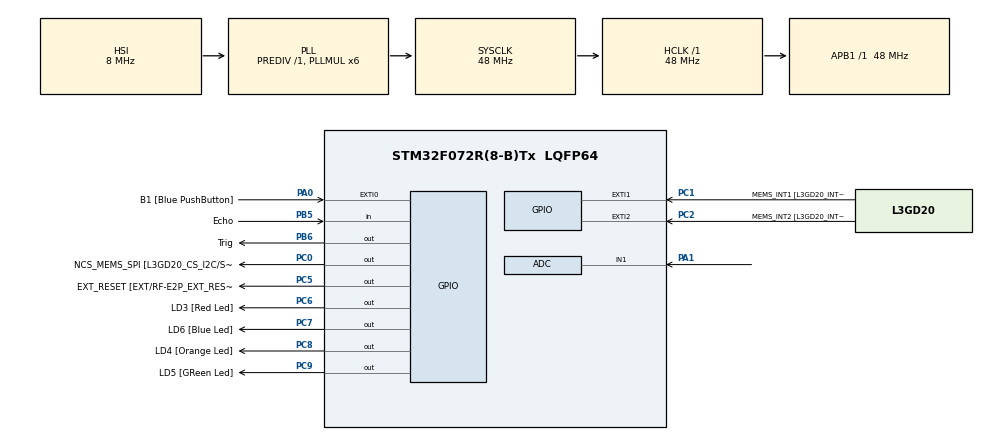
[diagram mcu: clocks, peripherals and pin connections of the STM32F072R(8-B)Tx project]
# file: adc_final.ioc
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Mcu.Family=STM32F0
Mcu.Name=STM32F072R(8-B)Tx
Mcu.Package=LQFP64
PA0.GPIO_Label=B1 [Blue PushButton]
PA0.GPIO_ModeDefaultEXTI=GPIO_MODE_EVT_RISING
PA0.Signal=GPXTI0
PA1.Mode=IN1
PA1.Signal=ADC_IN1
PA11.GPIO_Label=USBF4_DM
PA11.Signal=USB_DM
PA12.GPIO_Label=USBF4_DP
PA12.Signal=USB_DP
PA13.GPIO_Label=SWDIO
PA13.Signal=SYS_SWDIO
PA14.GPIO_Label=SWCLK
PA14.Signal=SYS_SWCLK
PA2.Signal=TSC_G1_IO3
PA3.Signal=TSC_G1_IO4
PA6.Signal=TSC_G2_IO3
PA7.Signal=TSC_G2_IO4
PB0.Signal=TSC_G3_IO2
PB1.Signal=TSC_G3_IO3
PB10.GPIO_Label=I2C2_SCL[EXT/RF-E2P_SCL]
PB10.Signal=I2C2_SCL
PB11.GPIO_Label=I2C2_SDA[EXT/RF-E2P_SDA]
PB11.Signal=I2C2_SDA
PB13.GPIO_Label=SPI2_SCK [L3GD20_SCL/SPC]
PB13.Signal=SPI2_SCK
PB14.GPIO_Label=SPI2_MISO [L3GD20_SDO]
PB14.Signal=SPI2_MISO
PB15.GPIO_Label=SPI2_MOSI [L3GD20_SDA/SDI]
PB15.Signal=SPI2_MOSI
PB5.GPIO_Label=Echo
PB5.Signal=GPIO_Input
PB6.GPIO_Label=Trig
PB6.Signal=GPIO_Output
PC0.GPIO_Label=NCS_MEMS_SPI [L3GD20_CS_I2C/SPI]
PC0.Signal=GPIO_Output
PC1.GPIO_Label=MEMS_INT1 [L3GD20_INT1]
PC1.GPIO_ModeDefaultEXTI=GPIO_MODE_EVT_RISING
PC1.Signal=GPXTI1
PC2.GPIO_Label=MEMS_INT2 [L3GD20_INT2]
PC2.GPIO_ModeDefaultEXTI=GPIO_MODE_EVT_RISING
PC2.Signal=GPXTI2
PC5.GPIO_Label=EXT_RESET [EXT/RF-E2P_EXT_RESET]
PC5.Signal=GPIO_Output
PC6.GPIO_Label=LD3 [Red Led]
PC6.Signal=GPIO_Output
PC7.GPIO_Label=LD6 [Blue Led]
PC7.Signal=GPIO_Output
PC8.GPIO_Label=LD4 [Orange Led]
PC8.Signal=GPIO_Output
PC9.GPIO_Label=LD5 [GReen Led]
PC9.Signal=GPIO_Output
ProjectManager.HeapSize=0x200
ProjectManager.StackSize=0x400
ProjectManager.TargetToolchain=SW4STM32
RCC.AHBFreq_Value=48000000
RCC.APB1Freq_Value=48000000
RCC.APB1TimFreq_Value=48000000
RCC.HCLKFreq_Value=48000000
RCC.PLLMUL=RCC_PLL_MUL6
RCC.SYSCLKFreq_VALUE=48000000
RCC.SYSCLKSource=RCC_SYSCLKSOURCE_PLLCLK
board=STM32F072B-DISCO

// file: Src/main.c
/**
 ******************************************************************************
 * File Name          : main.c
 * Description        : Main program body
 ******************************************************************************
 ** This notice applies to any and all portions of this file
 * that are not between comment pairs USER CODE BEGIN and
 * USER CODE END. Other portions of this file, whether
 * inserted by the user or by software development tools
 * are owned by their respective copyright owners.
 *
 * COPYRIGHT(c) 2018 STMicroelectronics
 *
 * Redistribution and use in source and binary forms, with or without modification,
 * are permitted provided that the following conditions are met:
 *   1. Redistributions of source code must retain the above copyright notice,
 *      this list of conditions and the following disclaimer.
 *   2. Redistributions in binary form must reproduce the above copyright notice,
 *      this list of conditions and the following disclaimer in the documentation
 *      and/or other materials provided with the distribution.
 *   3. Neither the name of STMicroelectronics nor the names of its contributors
 *      may be used to endorse or promote products derived from this software
 *      without specific prior written permission.
 *
 * THIS SOFTWARE IS PROVIDED BY THE COPYRIGHT HOLDERS AND CONTRIBUTORS "AS IS"
 * AND ANY EXPRESS OR IMPLIED WARRANTIES, INCLUDING, BUT NOT LIMITED TO, THE
 * IMPLIED WARRANTIES OF MERCHANTABILITY AND FITNESS FOR A PARTICULAR PURPOSE ARE
 * DISCLAIMED. IN NO EVENT SHALL THE COPYRIGHT HOLDER OR CONTRIBUTORS BE LIABLE
 * FOR ANY DIRECT, INDIRECT, INCIDENTAL, SPECIAL, EXEMPLARY, OR CONSEQUENTIAL
 * DAMAGES (INCLUDING, BUT NOT LIMITED TO, PROCUREMENT OF SUBSTITUTE GOODS OR
 * SERVICES; LOSS OF USE, DATA, OR PROFITS; OR BUSINESS INTERRUPTION) HOWEVER
 * CAUSED AND ON ANY THEORY OF LIABILITY, WHETHER IN CONTRACT, STRICT LIABILITY,
 * OR TORT (INCLUDING NEGLIGENCE OR OTHERWISE) ARISING IN ANY WAY OUT OF THE USE
 * OF THIS SOFTWARE, EVEN IF ADVISED OF THE POSSIBILITY OF SUCH DAMAGE.
 *
 ******************************************************************************
 */

#include "main.h"
#include "stm32f0xx_hal.h"
#include "stm32f0xx.h"
#include "string.h"

ADC_HandleTypeDef hadc;

/* USER CODE BEGIN PV */
/* Private variables ---------------------------------------------------------*/
uint32_t adcResult = 0;
/* USER CODE END PV */

void SystemClock_Config(void);
static void MX_GPIO_Init(void);
static void MX_ADC_Init(void);

/* USER CODE BEGIN PFP */
/* Private function prototypes -----------------------------------------------*/

/* USER CODE END PFP */

/* USER CODE BEGIN 0 */
inline uint32_t get_us() {
	return 1000 * HAL_GetTick(); // ���� �����, � �� ������?
}
#define LOOP_FREQ (SystemCoreClock/4000000)
#define TRESHOLD                            3000

inline void udelay_asm(uint32_t useconds) {
	useconds *= LOOP_FREQ;

	asm volatile("   mov r0, %[useconds]    \n\t"
			"1: subs r0, #1            \n\t"
			"   bhi 1b                 \n\t"
			:
			: [useconds] "r" (useconds)
			: "r0");
}

/* USER CODE END 0 */
unsigned char i = 0;
unsigned int hasRequest = 0;

int led_status = 0;
void EXTI0_1_IRQHandler(void) {
	//Handler for interruptions on external button and motion sensor
	//We light the led and notify all systems about that
	EXTI->PR |= 1;
	if (GPIOC->ODR & 1 << 12) {
		GPIOC->ODR &= ~(1 << 12);
	} else {
		GPIOC->ODR |= (1 << 12);

	}
}

void USART1_IRQHandler(void) {
	uint8_t chartoreceive = 0;
	if ((USART1->ISR & USART_ISR_RXNE) == USART_ISR_RXNE) {
		chartoreceive = (uint8_t) (USART1->RDR);
		switch (chartoreceive) {
		case 'O':
			GPIOC->ODR |= (1 << 6);
			hasRequest = 1;
			break;
		case 'F':
			GPIOC->ODR &= ~(1 << 6);
			hasRequest = 0;
			break;
		default:
			break;
		}
	} else {
		NVIC_DisableIRQ(USART1_IRQn);
	}
}
void USART2_IRQHandler(void) {
	uint8_t chartoreceive = 0;
	if ((USART2->ISR & USART_ISR_RXNE) == USART_ISR_RXNE) {
		chartoreceive = (uint8_t) (USART2->RDR);
		switch (chartoreceive) {
		case 'O':
			GPIOC->ODR |= (1 << 12);
			break;
		case 'B':
			GPIOC->ODR &= ~(1 << 12);
			break;
		default:
			break;
		}
	} else {
		NVIC_DisableIRQ(USART2_IRQn);
	}
}

void init_PA0_interrupt() {
	SYSCFG->EXTICR[0] &= ~SYSCFG_EXTICR1_EXTI0_PA;
	SYSCFG->EXTICR[0] |= SYSCFG_EXTICR1_EXTI0_PA;
	EXTI->IMR |= EXTI_IMR_MR0;
	EXTI->RTSR |= EXTI_RTSR_TR0;
	NVIC_SetPriority(EXTI0_1_IRQn, 1);
	NVIC_EnableIRQ(EXTI0_1_IRQn);
}

void init_USART_1() {
	//Configures for USART line 1
	GPIOA->AFR[1] = (GPIOA->AFR[1] & ~(GPIO_AFRH_AFRH1 |
	GPIO_AFRH_AFRH2)) | (1 << (1 * 4)) | (1 << (2 * 4));

	RCC->APB2ENR |= RCC_APB2ENR_USART1EN;
	USART1->BRR = 480000 / 96;
	USART1->CR1 = USART_CR1_RE | USART_CR1_TE | USART_CR1_UE;
	while ((USART1->ISR & USART_ISR_TC) != USART_ISR_TC)
		;
	USART1->ICR |= USART_ICR_TCCF;
	USART1->CR1 |= USART_CR1_RXNEIE;
	NVIC_SetPriority(USART1_IRQn, 0);
	NVIC_EnableIRQ(USART1_IRQn);
}
void init_USART_2() {
	//Configures for USART line 2
	RCC->APB1ENR |= RCC_APB1ENR_USART2EN;

	USART2->CR1 |= USART_CR1_UE | USART_CR1_TE | USART_CR1_RE |
	USART_CR1_RXNEIE;
	USART2->BRR = 480000 / 96;
	while ((USART2->ISR & USART_ISR_TC) != USART_ISR_TC)
		;
	USART2->ICR |= USART_ICR_TCCF;
}

int main(void) {

	/* USER CODE BEGIN 1 */
	init_PA0_interrupt();

	RCC->AHBENR |= RCC_AHBENR_GPIOAEN | RCC_AHBENR_GPIOCEN;
	GPIOC->MODER |= GPIO_MODER_MODER6_0 | GPIO_MODER_MODER7_0 |
	GPIO_MODER_MODER8_0 | GPIO_MODER_MODER9_0;
	GPIOA->MODER = (GPIOA->MODER
			& ~(GPIO_MODER_MODER9 | GPIO_MODER_MODER10 | GPIO_MODER_MODER14
					| GPIO_MODER_MODER15))
			| (GPIO_MODER_MODER9_1 | GPIO_MODER_MODER10_1 | GPIO_MODER_MODER14_1
					| GPIO_MODER_MODER15_1);
	GPIOA->AFR[1] = (GPIOA->AFR[1] & ~(GPIO_AFRH_AFRH1 |
	GPIO_AFRH_AFRH2)) | (1 << (1 * 4)) | (1 << (2 * 4));

	init_USART_1();

	NVIC_SetPriority(USART1_IRQn, 0);
	NVIC_EnableIRQ(USART1_IRQn);

	GPIOC->MODER |= GPIO_MODER_MODER12_0;

	/* USER CODE END 1 */

	/* MCU Configuration----------------------------------------------------------*/

	/* Reset of all peripherals, Initializes the Flash interface and the Systick. */
	HAL_Init();

	/* Configure the system clock */
	SystemClock_Config();

	/* Initialize all configured peripherals */
	MX_GPIO_Init();
	MX_ADC_Init();

	RCC->AHBENR |= RCC_AHBENR_GPIOAEN | RCC_AHBENR_GPIOCEN;

	GPIOC->MODER |= GPIO_MODER_MODER6_0 | GPIO_MODER_MODER7_0 |
	GPIO_MODER_MODER8_0 | GPIO_MODER_MODER9_0;
	//Setting AF for USART 2

	GPIOA->MODER = (GPIOA->MODER
			& ~(GPIO_MODER_MODER4 | GPIO_MODER_MODER14 | GPIO_MODER_MODER15
					| GPIO_MODER_MODER7))\

			| (GPIO_MODER_MODER4_1 | GPIO_MODER_MODER14_1 | GPIO_MODER_MODER15_1
					| GPIO_MODER_MODER7_1);

	RCC->APB1ENR |= RCC_APB1ENR_TIM3EN;
	GPIOC->MODER |= (1 << 15);
	GPIOC->MODER &= ~(1 << 14);

	TIM3->CCMR1 |= TIM_CCMR1_OC2M_2 | TIM_CCMR1_OC2M_1; /* (1) */
	TIM3->PSC = 0; /* (2) */
	TIM3->ARR = 999; /* (3) */
	TIM3->CCR2 = 0;
	; /* (4) */
	TIM3->CCER |= (TIM_CCER_CC2E); // Capture/Compare 2 output enable -- PA7
	TIM3->CCER &= ~TIM_CCER_CC2P;   //

	TIM3->CR1 |= TIM_CR1_CEN; //Turn on

	/* Infinite loop */
	while (1) {
		int t_state = HAL_GPIO_ReadPin(Trig_GPIO_Port, Trig_Pin);
		HAL_GPIO_WritePin(Trig_GPIO_Port, Trig_Pin, GPIO_PIN_SET);
//		udelay_asm(16);
		HAL_GPIO_WritePin(Trig_GPIO_Port, Trig_Pin, GPIO_PIN_RESET);
		if (HAL_GPIO_ReadPin(Trig_GPIO_Port, Trig_Pin) != GPIO_PIN_RESET) {
			HAL_GPIO_WritePin(Trig_GPIO_Port, Trig_Pin, GPIO_PIN_RESET);
			HAL_Delay(300);
			continue;
		}
		if (HAL_GPIO_ReadPin(Echo_GPIO_Port, Echo_Pin) == GPIO_PIN_SET) {
			HAL_Delay(300);
			continue;
		}
		uint32_t watchdog_begin = get_us();
		int didnt_had_1_at_echo = 0;
		while (HAL_GPIO_ReadPin(Echo_GPIO_Port, Echo_Pin) == GPIO_PIN_RESET) {
			if (get_us() - watchdog_begin > 500000) {
				didnt_had_1_at_echo = 1;
				break;
			}
		}
		if (didnt_had_1_at_echo) {
			HAL_Delay(300);
			continue;
		}

		uint32_t before = get_us();
		int didnt_had_0_at_echo = 0;
		while (HAL_GPIO_ReadPin(Echo_GPIO_Port, Echo_Pin) == GPIO_PIN_SET) {

			if (get_us() - watchdog_begin > 500000) {
				didnt_had_0_at_echo = 1;
				break;
			}

		}
		if (didnt_had_0_at_echo) {
			HAL_Delay(300);
			continue;
		}

		uint32_t pulse_time = get_us() - before;
		uint32_t distance = pulse_time / 58;

		int water_available = 1;
		if (distance > 50) {
			water_available = 0;
		}

		HAL_ADC_Start(&hadc);

		HAL_ADC_PollForConversion(&hadc, 100);

		adcResult = HAL_ADC_GetValue(&hadc);

		HAL_ADC_Stop(&hadc);

		if ((adcResult >= TRESHOLD || hasRequest == 1)
				&& water_available == 1) {
			TIM3->CCR2 = 999;
			hasRequest = 0;
			HAL_Delay(5000);
			TIM3->CCR2 = 0;
			HAL_Delay(15000);
		}

	}

}

/** System Clock Configuration
 */
void SystemClock_Config(void) {

	RCC_OscInitTypeDef RCC_OscInitStruct;
	RCC_ClkInitTypeDef RCC_ClkInitStruct;

	/**Initializes the CPU, AHB and APB busses clocks
	 */
	RCC_OscInitStruct.OscillatorType = RCC_OSCILLATORTYPE_HSI
			| RCC_OSCILLATORTYPE_HSI14;
	RCC_OscInitStruct.HSIState = RCC_HSI_ON;
	RCC_OscInitStruct.HSI14State = RCC_HSI14_ON;
	RCC_OscInitStruct.HSICalibrationValue = 16;
	RCC_OscInitStruct.HSI14CalibrationValue = 16;
	RCC_OscInitStruct.PLL.PLLState = RCC_PLL_ON;
	RCC_OscInitStruct.PLL.PLLSource = RCC_PLLSOURCE_HSI;
	RCC_OscInitStruct.PLL.PLLMUL = RCC_PLL_MUL6;
	RCC_OscInitStruct.PLL.PREDIV = RCC_PREDIV_DIV1;
	if (HAL_RCC_OscConfig(&RCC_OscInitStruct) != HAL_OK) {
		_Error_Handler(__FILE__, __LINE__);
	}

	/**Initializes the CPU, AHB and APB busses clocks
	 */
	RCC_ClkInitStruct.ClockType = RCC_CLOCKTYPE_HCLK | RCC_CLOCKTYPE_SYSCLK
			| RCC_CLOCKTYPE_PCLK1;
	RCC_ClkInitStruct.SYSCLKSource = RCC_SYSCLKSOURCE_PLLCLK;
	RCC_ClkInitStruct.AHBCLKDivider = RCC_SYSCLK_DIV1;
	RCC_ClkInitStruct.APB1CLKDivider = RCC_HCLK_DIV1;

	if (HAL_RCC_ClockConfig(&RCC_ClkInitStruct, FLASH_LATENCY_1) != HAL_OK) {
		_Error_Handler(__FILE__, __LINE__);
	}

	/**Configure the Systick interrupt time
	 */
	HAL_SYSTICK_Config(HAL_RCC_GetHCLKFreq() / 1000);

	/**Configure the Systick
	 */
	HAL_SYSTICK_CLKSourceConfig(SYSTICK_CLKSOURCE_HCLK);

	/* SysTick_IRQn interrupt configuration */
	HAL_NVIC_SetPriority(SysTick_IRQn, 0, 0);
}

/* ADC init function */
static void MX_ADC_Init(void) {

	ADC_ChannelConfTypeDef sConfig;

	/**Configure the global features of the ADC (Clock, Resolution, Data Alignment and number of conversion)
	 */
	hadc.Instance = ADC1;
	hadc.Init.ClockPrescaler = ADC_CLOCK_ASYNC_DIV1;
	hadc.Init.Resolution = ADC_RESOLUTION_12B;
	hadc.Init.DataAlign = ADC_DATAALIGN_RIGHT;
	hadc.Init.ScanConvMode = ADC_SCAN_DIRECTION_FORWARD;
	hadc.Init.EOCSelection = ADC_EOC_SINGLE_CONV;
	hadc.Init.LowPowerAutoWait = DISABLE;
	hadc.Init.LowPowerAutoPowerOff = DISABLE;
	hadc.Init.ContinuousConvMode = DISABLE;
	hadc.Init.DiscontinuousConvMode = DISABLE;
	hadc.Init.ExternalTrigConv = ADC_SOFTWARE_START;
	hadc.Init.ExternalTrigConvEdge = ADC_EXTERNALTRIGCONVEDGE_NONE;
	hadc.Init.DMAContinuousRequests = DISABLE;
	hadc.Init.Overrun = ADC_OVR_DATA_PRESERVED;
	if (HAL_ADC_Init(&hadc) != HAL_OK) {
		_Error_Handler(__FILE__, __LINE__);
	}

	/**Configure for the selected ADC regular channel to be converted.
	 */
	sConfig.Channel = ADC_CHANNEL_1;
	sConfig.Rank = ADC_RANK_CHANNEL_NUMBER;
	sConfig.SamplingTime = ADC_SAMPLETIME_1CYCLE_5;
	if (HAL_ADC_ConfigChannel(&hadc, &sConfig) != HAL_OK) {
		_Error_Handler(__FILE__, __LINE__);
	}

}

/** Configure pins as
 * Analog
 * Input
 * Output
 * EVENT_OUT
 * EXTI
 PA2   ------> TSC_G1_IO3
 PA3   ------> TSC_G1_IO4
 PA6   ------> TSC_G2_IO3
 PA7   ------> TSC_G2_IO4
 PB0   ------> TSC_G3_IO2
 PB1   ------> TSC_G3_IO3
 PB10   ------> I2C2_SCL
 PB11   ------> I2C2_SDA
 PB13   ------> SPI2_SCK
 PB14   ------> SPI2_MISO
 PB15   ------> SPI2_MOSI
 */
static void MX_GPIO_Init(void) {

	GPIO_InitTypeDef GPIO_InitStruct;

	/* GPIO Ports Clock Enable */
	__HAL_RCC_GPIOC_CLK_ENABLE()
	;
	__HAL_RCC_GPIOA_CLK_ENABLE()
	;
	__HAL_RCC_GPIOB_CLK_ENABLE()
	;

	/*Configure GPIO pin Output Level */
	HAL_GPIO_WritePin(GPIOC,
	NCS_MEMS_SPI_Pin | EXT_RESET_Pin | LD3_Pin | LD6_Pin | LD4_Pin | LD5_Pin,
			GPIO_PIN_RESET);

	/*Configure GPIO pin Output Level */
	HAL_GPIO_WritePin(Trig_GPIO_Port, Trig_Pin, GPIO_PIN_RESET);

	/*Configure GPIO pins : NCS_MEMS_SPI_Pin EXT_RESET_Pin LD3_Pin LD6_Pin
	 LD4_Pin LD5_Pin */
	GPIO_InitStruct.Pin = NCS_MEMS_SPI_Pin | EXT_RESET_Pin | LD3_Pin | LD6_Pin
			| LD4_Pin | LD5_Pin;
	GPIO_InitStruct.Mode = GPIO_MODE_OUTPUT_PP;
	GPIO_InitStruct.Pull = GPIO_NOPULL;
	GPIO_InitStruct.Speed = GPIO_SPEED_FREQ_LOW;
	HAL_GPIO_Init(GPIOC, &GPIO_InitStruct);

	/*Configure GPIO pins : MEMS_INT1_Pin MEMS_INT2_Pin */
	GPIO_InitStruct.Pin = MEMS_INT1_Pin | MEMS_INT2_Pin;
	GPIO_InitStruct.Mode = GPIO_MODE_EVT_RISING;
	GPIO_InitStruct.Pull = GPIO_NOPULL;
	HAL_GPIO_Init(GPIOC, &GPIO_InitStruct);

	/*Configure GPIO pin : B1_Pin */
	GPIO_InitStruct.Pin = B1_Pin;
	GPIO_InitStruct.Mode = GPIO_MODE_EVT_RISING;
	GPIO_InitStruct.Pull = GPIO_NOPULL;
	HAL_GPIO_Init(B1_GPIO_Port, &GPIO_InitStruct);

	/*Configure GPIO pins : PA2 PA3 PA6 PA7 */
	GPIO_InitStruct.Pin = GPIO_PIN_2 | GPIO_PIN_3 | GPIO_PIN_6 | GPIO_PIN_7;
	GPIO_InitStruct.Mode = GPIO_MODE_AF_PP;
	GPIO_InitStruct.Pull = GPIO_NOPULL;
	GPIO_InitStruct.Speed = GPIO_SPEED_FREQ_LOW;
	GPIO_InitStruct.Alternate = GPIO_AF3_TSC;
	HAL_GPIO_Init(GPIOA, &GPIO_InitStruct);

	/*Configure GPIO pins : PB0 PB1 */
	GPIO_InitStruct.Pin = GPIO_PIN_0 | GPIO_PIN_1;
	GPIO_InitStruct.Mode = GPIO_MODE_AF_PP;
	GPIO_InitStruct.Pull = GPIO_NOPULL;
	GPIO_InitStruct.Speed = GPIO_SPEED_FREQ_LOW;
	GPIO_InitStruct.Alternate = GPIO_AF3_TSC;
	HAL_GPIO_Init(GPIOB, &GPIO_InitStruct);

	/*Configure GPIO pins : I2C2_SCL_Pin I2C2_SDA_Pin */
	GPIO_InitStruct.Pin = I2C2_SCL_Pin | I2C2_SDA_Pin;
	GPIO_InitStruct.Mode = GPIO_MODE_AF_OD;
	GPIO_InitStruct.Pull = GPIO_PULLUP;
	GPIO_InitStruct.Speed = GPIO_SPEED_FREQ_HIGH;
	GPIO_InitStruct.Alternate = GPIO_AF1_I2C2;
	HAL_GPIO_Init(GPIOB, &GPIO_InitStruct);

	/*Configure GPIO pins : SPI2_SCK_Pin SPI2_MISO_Pin SPI2_MOSI_Pin */
	GPIO_InitStruct.Pin = SPI2_SCK_Pin | SPI2_MISO_Pin | SPI2_MOSI_Pin;
	GPIO_InitStruct.Mode = GPIO_MODE_AF_PP;
	GPIO_InitStruct.Pull = GPIO_NOPULL;
	GPIO_InitStruct.Speed = GPIO_SPEED_FREQ_HIGH;
	GPIO_InitStruct.Alternate = GPIO_AF0_SPI2;
	HAL_GPIO_Init(GPIOB, &GPIO_InitStruct);

	/*Configure GPIO pin : Echo_Pin */
	GPIO_InitStruct.Pin = Echo_Pin;
	GPIO_InitStruct.Mode = GPIO_MODE_INPUT;
	GPIO_InitStruct.Pull = GPIO_NOPULL;
	HAL_GPIO_Init(Echo_GPIO_Port, &GPIO_InitStruct);

	/*Configure GPIO pin : Trig_Pin */
	GPIO_InitStruct.Pin = Trig_Pin;
	GPIO_InitStruct.Mode = GPIO_MODE_OUTPUT_PP;
	GPIO_InitStruct.Pull = GPIO_NOPULL;
	GPIO_InitStruct.Speed = GPIO_SPEED_FREQ_LOW;
	HAL_GPIO_Init(Trig_GPIO_Port, &GPIO_InitStruct);

}

void _Error_Handler(char * file, int line) {
	while (1) {
	}
}

/************************ (C) COPYRIGHT STMicroelectronics *****END OF FILE****/
